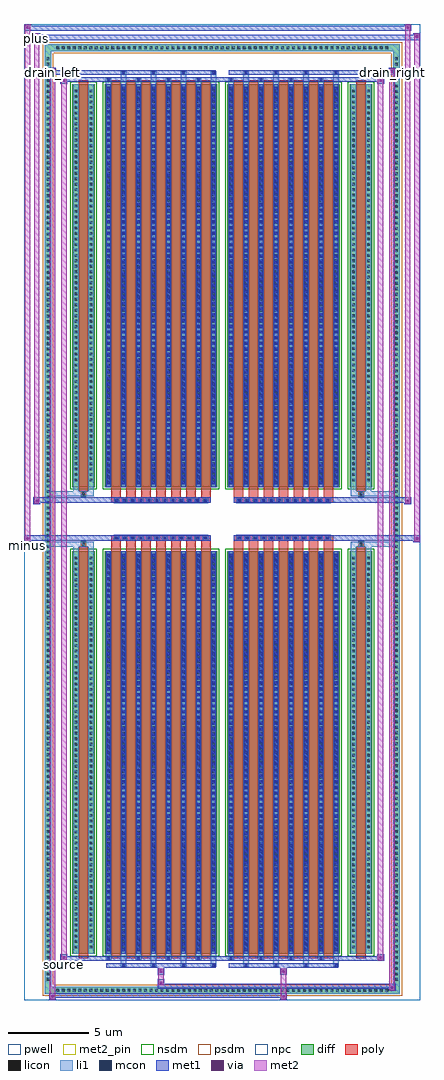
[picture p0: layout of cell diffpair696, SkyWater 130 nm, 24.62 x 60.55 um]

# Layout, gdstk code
import gdstk
lib = gdstk.Library(unit=1e-6, precision=5e-09)
def R(c, l, rs):  # rectangles x0, y0, x1, y1
    for r in rs: c.add(gdstk.rectangle(r[:2], r[2:], *l))
def A(c, l, x, y, w, h, nx, ny, dx, dy):  # array of equal rectangles
    R(c, l, [(x+i*dx, y+j*dy, x+i*dx+w, y+j*dy+h) for i in range(nx) for j in range(ny)])
def P(c, l, *ps):  # polygons
    for p in ps: c.add(gdstk.Polygon(p, *l))
pwell = (64, 44)
diff = (65, 20)
poly = (66, 20)
licon = (66, 44)
li1 = (67, 20)
mcon = (67, 44)
met1 = (68, 20)
via = (68, 44)
met2_pin = (69, 16)
met2 = (69, 20)
nsdm = (93, 44)
psdm = (94, 20)
npc = (95, 20)

diffpair696 = lib.new_cell('diffpair696')
R(diffpair696, pwell, [(-12.29,-29.84,12.29,30.71), (-9.61,-28.03,-0.01,-0.805), (0.01,-28.03,9.61,-0.805), (-9.61,0.805,-0.01,28.03), (0.01,0.805,9.61,28.03)])
A(diffpair696, diff, -10.405, -29.44, 0.41, 0.41, 61, 2, 0.34, 58.47)
A(diffpair696, diff, -11.02, -28.765, 0.41, 0.41, 1, 169, 0, 0.34)
A(diffpair696, diff, 10.61, -28.765, 0.41, 0.41, 1, 169, 0, 0.34)
R(diffpair696, diff, [(-10.405,-29.44,10.405,-29.03), (-11.02,-28.765,-10.61,28.765), (10.61,-28.765,11.02,28.765), (-9.3,-26.985,-7.92,-1.985), (-7.28,-26.985,-0.32,-1.985), (0.32,-26.985,7.28,-1.985), (7.92,-26.985,9.3,-1.985), (-9.3,1.985,-7.92,26.985), (-7.28,1.985,-0.32,26.985), (0.32,1.985,7.28,26.985), (7.92,1.985,9.3,26.985), (-10.405,29.03,10.405,29.44)])
P(diffpair696, diff, [(11.02,29.44),(-11.02,29.44),(-11.02,-29.03),(-10.61,-29.03),(-10.61,29.03),(10.61,29.03),(10.61,-29.03),(-10.61,-29.03),(-11.02,-29.03),(-11.02,-29.44),(11.02,-29.44)])
A(diffpair696, poly, -6.89, -27.235, 0.6, 25.5, 7, 2, 0.93, 28.97)
A(diffpair696, poly, 0.71, -27.235, 0.6, 25.5, 7, 2, 0.93, 28.97)
A(diffpair696, poly, -6.89, -1.735, 0.6, 0.4, 7, 2, 0.93, 3.07)
A(diffpair696, poly, 0.71, -1.735, 0.6, 0.4, 7, 2, 0.93, 3.07)
A(diffpair696, poly, -6.715, -1.335, 0.33, 0.33, 12, 2, 0.5, 2.34)
A(diffpair696, poly, 0.885, -1.335, 0.33, 0.33, 12, 2, 0.5, 2.34)
R(diffpair696, poly, [(-8.91,-27.235,-8.31,-1.735), (8.31,-27.235,8.91,-1.735), (-8.775,-1.735,-8.445,-1.405), (-8.775,-1.735,-8.445,-1.405), (8.445,-1.735,8.775,-1.405), (8.445,-1.735,8.775,-1.405), (-6.89,-1.335,-0.71,-1.005), (0.71,-1.335,6.89,-1.005), (-6.89,1.005,-0.71,1.335), (0.71,1.005,6.89,1.335), (-8.775,1.405,-8.445,1.735), (-8.775,1.405,-8.445,1.735), (8.445,1.405,8.775,1.735), (8.445,1.405,8.775,1.735), (-8.91,1.735,-8.31,27.235), (8.31,1.735,8.91,27.235)])
A(diffpair696, licon, -10.285, -29.32, 0.17, 0.17, 61, 2, 0.34, 58.47)
A(diffpair696, licon, -10.9, -28.645, 0.17, 0.17, 1, 169, 0, 0.34)
A(diffpair696, licon, 10.73, -28.645, 0.17, 0.17, 1, 169, 0, 0.34)
A(diffpair696, licon, -9.16, -26.64, 0.17, 0.17, 1, 72, 0, 0.34)
A(diffpair696, licon, -8.23, -26.64, 0.17, 0.17, 1, 72, 0, 0.34)
A(diffpair696, licon, -7.14, -26.64, 0.17, 0.17, 8, 72, 0.93, 0.34)
A(diffpair696, licon, 0.46, -26.64, 0.17, 0.17, 8, 72, 0.93, 0.34)
A(diffpair696, licon, 8.06, -26.64, 0.17, 0.17, 1, 72, 0, 0.34)
A(diffpair696, licon, 8.99, -26.64, 0.17, 0.17, 1, 72, 0, 0.34)
A(diffpair696, licon, -6.635, -1.255, 0.17, 0.17, 12, 2, 0.5, 2.34)
A(diffpair696, licon, 0.965, -1.255, 0.17, 0.17, 12, 2, 0.5, 2.34)
A(diffpair696, licon, -9.16, 2.33, 0.17, 0.17, 1, 72, 0, 0.34)
A(diffpair696, licon, -8.23, 2.33, 0.17, 0.17, 1, 72, 0, 0.34)
A(diffpair696, licon, -7.14, 2.33, 0.17, 0.17, 8, 72, 0.93, 0.34)
A(diffpair696, licon, 0.46, 2.33, 0.17, 0.17, 8, 72, 0.93, 0.34)
A(diffpair696, licon, 8.06, 2.33, 0.17, 0.17, 1, 72, 0, 0.34)
A(diffpair696, licon, 8.99, 2.33, 0.17, 0.17, 1, 72, 0, 0.34)
R(diffpair696, licon, [(-8.695,-1.655,-8.525,-1.485), (8.525,-1.655,8.695,-1.485), (-8.695,1.485,-8.525,1.655), (8.525,1.485,8.695,1.655)])
A(diffpair696, li1, -10.365, -29.4, 0.33, 0.33, 61, 2, 0.34, 58.47)
A(diffpair696, li1, -10.98, -28.725, 0.33, 0.33, 1, 169, 0, 0.34)
A(diffpair696, li1, 10.65, -28.725, 0.33, 0.33, 1, 169, 0, 0.34)
A(diffpair696, li1, -6.29, -27.79, 0.33, 0.805, 4, 2, 1.86, 54.775)
A(diffpair696, li1, -6.21, -27.79, 0.17, 0.17, 4, 2, 1.86, 55.41)
A(diffpair696, li1, 1.31, -27.79, 0.33, 0.805, 4, 2, 1.86, 54.775)
A(diffpair696, li1, 1.39, -27.79, 0.17, 0.17, 4, 2, 1.86, 55.41)
A(diffpair696, li1, -7.22, -27.36, 0.33, 0.375, 4, 2, 1.86, 54.345)
A(diffpair696, li1, -7.14, -27.36, 0.17, 0.17, 4, 2, 1.86, 54.55)
A(diffpair696, li1, 0.38, -27.36, 0.33, 0.375, 4, 2, 1.86, 54.345)
A(diffpair696, li1, 0.46, -27.36, 0.17, 0.17, 4, 2, 1.86, 54.55)
A(diffpair696, li1, -7.22, -26.985, 0.33, 25, 8, 2, 0.93, 28.97)
A(diffpair696, li1, 0.38, -26.985, 0.33, 25, 8, 2, 0.93, 28.97)
A(diffpair696, li1, -7.14, -26.81, 0.17, 0.17, 8, 69, 0.93, 0.36)
A(diffpair696, li1, -7.14, -26.81, 0.17, 24.65, 8, 2, 0.93, 28.97)
A(diffpair696, li1, 0.46, -26.81, 0.17, 0.17, 8, 69, 0.93, 0.36)
A(diffpair696, li1, 0.46, -26.81, 0.17, 24.65, 8, 2, 0.93, 28.97)
A(diffpair696, li1, -9.24, -26.72, 0.33, 0.33, 1, 72, 0, 0.34)
A(diffpair696, li1, -8.31, -26.72, 0.33, 0.33, 1, 72, 0, 0.34)
A(diffpair696, li1, -7.22, -26.72, 0.33, 0.33, 8, 72, 0.93, 0.34)
A(diffpair696, li1, 0.38, -26.72, 0.33, 0.33, 8, 72, 0.93, 0.34)
A(diffpair696, li1, 7.98, -26.72, 0.33, 0.33, 1, 72, 0, 0.34)
A(diffpair696, li1, 8.91, -26.72, 0.33, 0.33, 1, 72, 0, 0.34)
A(diffpair696, li1, -6.715, -1.335, 0.33, 0.33, 12, 2, 0.5, 2.34)
A(diffpair696, li1, 0.885, -1.335, 0.33, 0.33, 12, 2, 0.5, 2.34)
A(diffpair696, li1, -7.14, 2.16, 0.17, 0.17, 8, 69, 0.93, 0.36)
A(diffpair696, li1, 0.46, 2.16, 0.17, 0.17, 8, 69, 0.93, 0.36)
A(diffpair696, li1, -9.24, 2.25, 0.33, 0.33, 1, 72, 0, 0.34)
A(diffpair696, li1, -8.31, 2.25, 0.33, 0.33, 1, 72, 0, 0.34)
A(diffpair696, li1, -7.22, 2.25, 0.33, 0.33, 8, 72, 0.93, 0.34)
A(diffpair696, li1, 0.38, 2.25, 0.33, 0.33, 8, 72, 0.93, 0.34)
A(diffpair696, li1, 7.98, 2.25, 0.33, 0.33, 1, 72, 0, 0.34)
A(diffpair696, li1, 8.91, 2.25, 0.33, 0.33, 1, 72, 0, 0.34)
R(diffpair696, li1, [(-11.02,-29.44,-10.61,-29.03), (-11.02,-29.44,-10.61,-29.03), (-10.61,-29.44,10.61,-29.03), (10.61,-29.44,11.02,-29.03), (10.61,-29.44,11.02,-29.03), (-11.02,-29.03,-10.61,29.03), (10.61,-29.03,11.02,29.03), (-9.24,-26.985,-8.91,-1.985), (-8.31,-26.985,-7.98,-1.985), (7.98,-26.985,8.31,-1.985), (8.91,-26.985,9.24,-1.985), (-9.24,-1.985,-8.91,-1.405), (-8.31,-1.985,-7.98,-1.405), (7.98,-1.985,8.31,-1.405), (8.91,-1.985,9.24,-1.405), (-11.02,-1.735,-8.775,-1.405), (-9.24,-1.735,-8.775,-1.405), (-8.775,-1.735,-8.445,-1.405), (-8.445,-1.735,-7.98,-1.405), (7.98,-1.735,8.445,-1.405), (8.445,-1.735,8.775,-1.405), (8.445,-1.735,11.02,-1.405), (8.775,-1.735,9.24,-1.405), (-11.02,1.405,-8.775,1.735), (-9.24,1.405,-8.775,1.735), (-9.24,1.405,-8.91,1.985), (-8.775,1.405,-8.445,1.735), (-8.445,1.405,-7.98,1.735), (-8.31,1.405,-7.98,1.985), (7.98,1.405,8.445,1.735), (7.98,1.405,8.31,1.985), (8.445,1.405,8.775,1.735), (8.445,1.405,11.02,1.735), (8.775,1.405,9.24,1.735), (8.91,1.405,9.24,1.985), (-9.24,1.985,-8.91,26.985), (-8.31,1.985,-7.98,26.985), (7.98,1.985,8.31,26.985), (8.91,1.985,9.24,26.985), (-11.02,29.03,-10.61,29.44), (-11.02,29.03,-10.61,29.44), (-10.61,29.03,10.61,29.44), (10.61,29.03,11.02,29.44), (10.61,29.03,11.02,29.44)])
A(diffpair696, mcon, -6.21, -27.79, 0.17, 0.17, 4, 2, 1.86, 55.41)
A(diffpair696, mcon, 1.39, -27.79, 0.17, 0.17, 4, 2, 1.86, 55.41)
A(diffpair696, mcon, -7.14, -27.36, 0.17, 0.17, 4, 2, 1.86, 54.55)
A(diffpair696, mcon, 0.46, -27.36, 0.17, 0.17, 4, 2, 1.86, 54.55)
A(diffpair696, mcon, -7.14, -26.81, 0.17, 0.17, 8, 69, 0.93, 0.36)
A(diffpair696, mcon, 0.46, -26.81, 0.17, 0.17, 8, 69, 0.93, 0.36)
A(diffpair696, mcon, -6.635, -1.255, 0.17, 0.17, 12, 2, 0.5, 2.34)
A(diffpair696, mcon, 0.965, -1.255, 0.17, 0.17, 12, 2, 0.5, 2.34)
A(diffpair696, mcon, -7.14, 2.16, 0.17, 0.17, 8, 69, 0.93, 0.36)
A(diffpair696, mcon, 0.46, 2.16, 0.17, 0.17, 8, 69, 0.93, 0.36)
A(diffpair696, met1, -6.27, -27.85, 0.29, 0.29, 4, 2, 1.86, 55.41)
A(diffpair696, met1, 1.33, -27.85, 0.29, 0.29, 4, 2, 1.86, 55.41)
A(diffpair696, met1, -7.2, -27.42, 0.29, 0.29, 4, 2, 1.86, 54.55)
A(diffpair696, met1, 0.4, -27.42, 0.29, 0.29, 4, 2, 1.86, 54.55)
A(diffpair696, met1, -7.2, -26.985, 0.29, 25, 8, 2, 0.93, 28.97)
A(diffpair696, met1, 0.4, -26.985, 0.29, 25, 8, 2, 0.93, 28.97)
A(diffpair696, met1, -7.2, -26.87, 0.29, 0.29, 8, 69, 0.93, 0.36)
A(diffpair696, met1, 0.4, -26.87, 0.29, 0.29, 8, 69, 0.93, 0.36)
A(diffpair696, met1, -6.695, -1.315, 0.29, 0.29, 12, 2, 0.5, 2.34)
A(diffpair696, met1, 0.905, -1.315, 0.29, 0.29, 12, 2, 0.5, 2.34)
A(diffpair696, met1, -7.2, 2.1, 0.29, 0.29, 8, 69, 0.93, 0.36)
A(diffpair696, met1, 0.4, 2.1, 0.29, 0.29, 8, 69, 0.93, 0.36)
R(diffpair696, met1, [(-10.75,-29.84,-10.32,-29.41), (3.585,-29.84,4.015,-29.41), (-10.75,-29.7,4.015,-29.41), (10.32,-29.27,10.75,-28.84), (-4.015,-29.13,10.75,-28.84), (-4.015,-28.99,-3.585,-28.56), (-4.015,-28.28,-3.585,-27.85), (3.585,-28.28,4.015,-27.85), (-7.2,-27.85,-0.4,-27.56), (0.4,-27.85,7.2,-27.56), (-10.04,-27.42,-9.61,-26.99), (-10.04,-27.42,-7.2,-27.13), (-7.2,-27.42,-0.4,-27.13), (-0.4,-27.42,0.4,-27.13), (0.4,-27.42,7.2,-27.13), (7.2,-27.42,10.04,-27.13), (9.61,-27.42,10.04,-26.99), (-12.29,-1.435,-11.86,-1.005), (11.86,-1.435,12.29,-1.005), (-12.29,-1.335,-0.71,-1.005), (-6.89,-1.335,-0.71,-1.005), (0.71,-1.335,6.89,-1.005), (0.71,-1.335,12.29,-1.005), (-11.72,0.905,-11.29,1.335), (11.29,0.905,11.72,1.335), (-11.72,1.005,-6.89,1.335), (-6.89,1.005,-0.71,1.335), (0.71,1.005,6.89,1.335), (6.89,1.005,11.72,1.335), (-10.04,26.99,-9.61,27.42), (9.61,26.99,10.04,27.42), (-10.04,27.13,-7.2,27.42), (-7.2,27.13,-0.4,27.42), (-0.4,27.13,0.4,27.42), (0.4,27.13,7.2,27.42), (7.2,27.13,10.04,27.42), (-10.75,27.56,-10.32,27.99), (-10.75,27.56,-7.2,27.85), (-7.2,27.56,-0.4,27.85), (0.4,27.56,7.2,27.85), (7.2,27.56,10.75,27.85), (10.32,27.56,10.75,27.99), (-11.72,29.71,-11.29,30.14), (-11.72,29.71,-9.61,30.04), (-9.61,29.71,9.61,30.04), (9.61,29.71,12.29,30.04), (11.86,29.71,12.29,30.14), (-12.29,30.28,-11.86,30.71), (-12.29,30.28,-9.61,30.61), (-9.61,30.28,9.61,30.61), (9.61,30.28,11.72,30.61), (11.29,30.28,11.72,30.71)])
R(diffpair696, via, [(-10.61,-29.7,-10.46,-29.55), (3.725,-29.7,3.875,-29.55), (10.46,-29.13,10.61,-28.98), (-3.875,-28.85,-3.725,-28.7), (-3.875,-28.14,-3.725,-27.99), (3.725,-28.14,3.875,-27.99), (-9.9,-27.28,-9.75,-27.13), (9.75,-27.28,9.9,-27.13), (-12.15,-1.295,-12,-1.145), (12,-1.295,12.15,-1.145), (-11.58,1.045,-11.43,1.195), (11.43,1.045,11.58,1.195), (-9.9,27.13,-9.75,27.28), (9.75,27.13,9.9,27.28), (-10.61,27.7,-10.46,27.85), (10.46,27.7,10.61,27.85), (-11.58,29.85,-11.43,30), (12,29.85,12.15,30), (-12.15,30.42,-12,30.57), (11.43,30.42,11.58,30.57)])
R(diffpair696, met2_pin, [(-10.075,-27.87,-9.575,-27.37), (-12.325,-1.885,-11.825,-1.385), (-10.785,27.44,-10.285,27.94), (10.285,27.44,10.785,27.94), (-11.755,29.59,-11.255,30.09)])
R(diffpair696, met2, [(-10.7,-29.79,-10.37,-29.46), (-10.7,-29.79,-10.37,27.94), (3.635,-29.79,3.965,-29.46), (3.635,-29.46,3.965,-28.23), (10.37,-29.22,10.7,-28.89), (10.37,-29.22,10.7,27.94), (-3.965,-28.94,-3.635,-28.61), (-3.965,-28.61,-3.635,-28.23), (-3.965,-28.23,-3.635,-27.9), (3.635,-28.23,3.965,-27.9), (-9.99,-27.37,-9.66,-27.04), (-9.99,-27.37,-9.66,27.37), (9.66,-27.37,9.99,-27.04), (9.66,-27.37,9.99,27.37), (-12.24,-1.385,-11.91,-1.055), (-12.24,-1.385,-11.91,30.66), (11.91,-1.385,12.24,-1.055), (11.91,-1.385,12.24,30.09), (-11.67,0.955,-11.34,1.285), (-11.67,0.955,-11.34,30.09), (11.34,0.955,11.67,1.285), (11.34,0.955,11.67,30.66), (-9.99,27.04,-9.66,27.37), (9.66,27.04,9.99,27.37), (-10.7,27.61,-10.37,27.94), (10.37,27.61,10.7,27.94), (-11.67,29.76,-11.34,30.09), (11.91,29.76,12.24,30.09), (-12.24,30.33,-11.91,30.66), (11.34,30.33,11.67,30.66)])
P(diffpair696, met2, [(12.24,-1.385),(12.24,-1.385),(12.24,-1.055),(12.24,-1.055)],
  [(12.24,29.76),(12.24,29.76),(12.24,30.09),(12.24,30.09)],
  [(-11.91,-1.385),(-11.91,-1.385),(-11.91,-1.055),(-11.91,-1.055)],
  [(-11.91,30.33),(-11.91,30.33),(-11.91,30.66),(-11.91,30.66)],
  [(11.67,0.955),(11.67,0.955),(11.67,1.285),(11.67,1.285)],
  [(11.67,30.33),(11.67,30.33),(11.67,30.66),(11.67,30.66)],
  [(-11.34,0.955),(-11.34,0.955),(-11.34,1.285),(-11.34,1.285)],
  [(-11.34,29.76),(-11.34,29.76),(-11.34,30.09),(-11.34,30.09)],
  [(-10.37,-29.79),(-10.37,-29.79),(-10.37,-29.46),(-10.37,-29.46)],
  [(-10.37,27.61),(-10.37,27.61),(-10.37,27.94),(-10.37,27.94)],
  [(10.7,-29.22),(10.7,-29.22),(10.7,-28.89),(10.7,-28.89)],
  [(10.7,27.61),(10.7,27.61),(10.7,27.94),(10.7,27.94)],
  [(-9.66,-27.37),(-9.66,-27.37),(-9.66,-27.04),(-9.66,-27.04)],
  [(-9.66,27.04),(-9.66,27.04),(-9.66,27.37),(-9.66,27.37)],
  [(9.99,-27.37),(9.99,-27.37),(9.99,-27.04),(9.99,-27.04)],
  [(9.99,27.04),(9.99,27.04),(9.99,27.37),(9.99,27.37)])
R(diffpair696, nsdm, [(-9.43,-27.115,-7.79,-1.855), (-7.41,-27.115,-0.19,-1.855), (0.19,-27.115,7.41,-1.855), (7.79,-27.115,9.43,-1.855), (-9.43,1.855,-7.79,27.115), (-7.41,1.855,-0.19,27.115), (0.19,1.855,7.41,27.115), (7.79,1.855,9.43,27.115)])
P(diffpair696, psdm, [(11.15,29.57),(-11.15,29.57),(-11.15,-28.9),(-10.48,-28.9),(-10.48,28.9),(10.48,28.9),(10.48,-28.9),(-10.48,-28.9),(-11.15,-28.9),(-11.15,-29.57),(11.15,-29.57)])
A(diffpair696, npc, -6.735, -1.355, 0.37, 0.37, 12, 2, 0.5, 2.34)
A(diffpair696, npc, 0.865, -1.355, 0.37, 0.37, 12, 2, 0.5, 2.34)
R(diffpair696, npc, [(-8.795,-1.755,-8.425,-1.385), (8.425,-1.755,8.795,-1.385), (-6.735,-1.355,-5.865,-0.985), (-6.735,-1.355,-5.865,-0.985), (-6.235,-1.355,-5.365,-0.985), (-6.235,-1.355,-5.365,-0.985), (-5.735,-1.355,-4.865,-0.985), (-5.735,-1.355,-4.865,-0.985), (-5.235,-1.355,-4.365,-0.985), (-5.235,-1.355,-4.365,-0.985), (-4.735,-1.355,-3.865,-0.985), (-4.735,-1.355,-3.865,-0.985), (-4.235,-1.355,-3.365,-0.985), (-4.235,-1.355,-3.365,-0.985), (-3.735,-1.355,-2.865,-0.985), (-3.735,-1.355,-2.865,-0.985), (-3.235,-1.355,-2.365,-0.985), (-3.235,-1.355,-2.365,-0.985), (-2.735,-1.355,-1.865,-0.985), (-2.735,-1.355,-1.865,-0.985), (-2.235,-1.355,-1.365,-0.985), (-2.235,-1.355,-1.365,-0.985), (-1.735,-1.355,-0.865,-0.985), (-1.735,-1.355,-0.865,-0.985), (0.865,-1.355,1.735,-0.985), (0.865,-1.355,1.735,-0.985), (1.365,-1.355,2.235,-0.985), (1.365,-1.355,2.235,-0.985), (1.865,-1.355,2.735,-0.985), (1.865,-1.355,2.735,-0.985), (2.365,-1.355,3.235,-0.985), (2.365,-1.355,3.235,-0.985), (2.865,-1.355,3.735,-0.985), (2.865,-1.355,3.735,-0.985), (3.365,-1.355,4.235,-0.985), (3.365,-1.355,4.235,-0.985), (3.865,-1.355,4.735,-0.985), (3.865,-1.355,4.735,-0.985), (4.365,-1.355,5.235,-0.985), (4.365,-1.355,5.235,-0.985), (4.865,-1.355,5.735,-0.985), (4.865,-1.355,5.735,-0.985), (5.365,-1.355,6.235,-0.985), (5.365,-1.355,6.235,-0.985), (5.865,-1.355,6.735,-0.985), (5.865,-1.355,6.735,-0.985), (-6.735,0.985,-5.865,1.355), (-6.735,0.985,-5.865,1.355), (-6.235,0.985,-5.365,1.355), (-6.235,0.985,-5.365,1.355), (-5.735,0.985,-4.865,1.355), (-5.735,0.985,-4.865,1.355), (-5.235,0.985,-4.365,1.355), (-5.235,0.985,-4.365,1.355), (-4.735,0.985,-3.865,1.355), (-4.735,0.985,-3.865,1.355), (-4.235,0.985,-3.365,1.355), (-4.235,0.985,-3.365,1.355), (-3.735,0.985,-2.865,1.355), (-3.735,0.985,-2.865,1.355), (-3.235,0.985,-2.365,1.355), (-3.235,0.985,-2.365,1.355), (-2.735,0.985,-1.865,1.355), (-2.735,0.985,-1.865,1.355), (-2.235,0.985,-1.365,1.355), (-2.235,0.985,-1.365,1.355), (-1.735,0.985,-0.865,1.355), (-1.735,0.985,-0.865,1.355), (0.865,0.985,1.735,1.355), (0.865,0.985,1.735,1.355), (1.365,0.985,2.235,1.355), (1.365,0.985,2.235,1.355), (1.865,0.985,2.735,1.355), (1.865,0.985,2.735,1.355), (2.365,0.985,3.235,1.355), (2.365,0.985,3.235,1.355), (2.865,0.985,3.735,1.355), (2.865,0.985,3.735,1.355), (3.365,0.985,4.235,1.355), (3.365,0.985,4.235,1.355), (3.865,0.985,4.735,1.355), (3.865,0.985,4.735,1.355), (4.365,0.985,5.235,1.355), (4.365,0.985,5.235,1.355), (4.865,0.985,5.735,1.355), (4.865,0.985,5.735,1.355), (5.365,0.985,6.235,1.355), (5.365,0.985,6.235,1.355), (5.865,0.985,6.735,1.355), (5.865,0.985,6.735,1.355), (-8.795,1.385,-8.425,1.755), (8.425,1.385,8.795,1.755)])
diffpair696.add(gdstk.Label('minus', (-12.075,-1.635), layer=69, texttype=5))
diffpair696.add(gdstk.Label('drain_right', (10.535,27.69), layer=69, texttype=5))
diffpair696.add(gdstk.Label('drain_left', (-10.535,27.69), layer=69, texttype=5))
diffpair696.add(gdstk.Label('source', (-9.825,-27.62), layer=69, texttype=5))
diffpair696.add(gdstk.Label('plus', (-11.505,29.84), layer=69, texttype=5))

lib.write_gds('diffpair696.gds')
